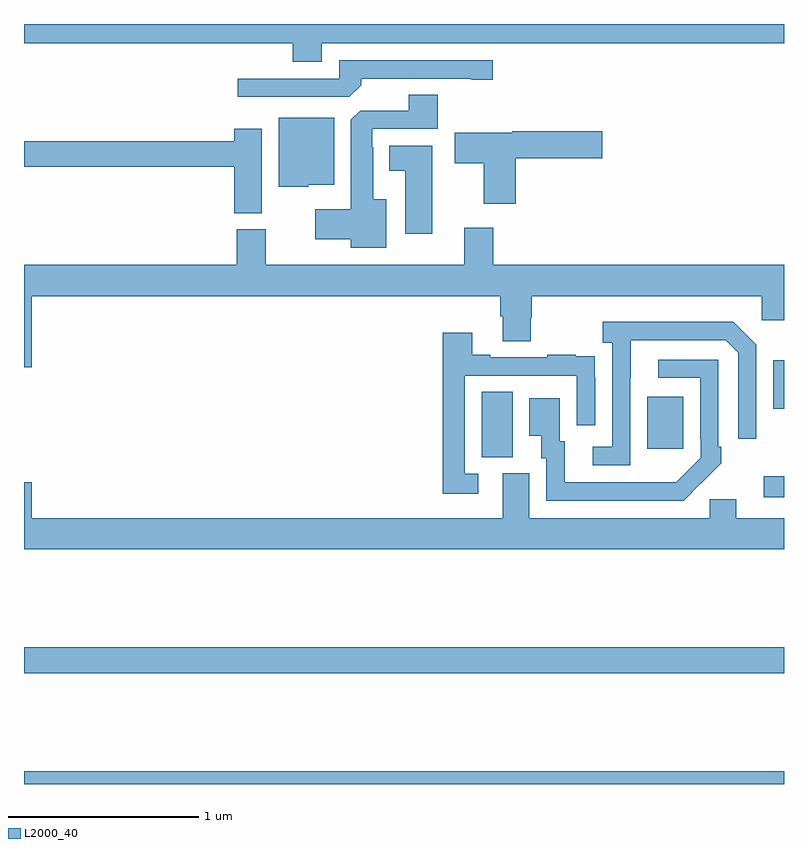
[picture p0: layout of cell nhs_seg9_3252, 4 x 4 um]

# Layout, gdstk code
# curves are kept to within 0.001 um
import gdstk
lib = gdstk.Library(unit=1e-6, precision=1e-09)
def R(c, l, rs):  # rectangles x0, y0, x1, y1
    for r in rs: c.add(gdstk.rectangle(r[:2], r[2:], *l))
def P(c, l, *ps):  # polygons
    for p in ps: c.add(gdstk.Polygon(p, *l))
L2000_40 = (2000, 40)

nhs_seg9_3252 = lib.new_cell('nhs_seg9_3252')
R(nhs_seg9_3252, L2000_40, [(297,1212.5,301,1212.568), (297,1213.084,301,1213.22), (300.894,1214.01,301,1214.119), (299.408,1214.221,299.572,1214.564), (300.281,1214.265,300.469,1214.539), (300.944,1214.474,301,1214.731)])
P(nhs_seg9_3252, L2000_40, [(298.567,1216.4),(301,1216.4),(301,1216.5),(297,1216.5),(297,1216.4),(298.415,1216.4),(298.415,1216.301),(298.567,1216.301)],
  [(298.775,1216.178),(298.775,1216.212),(299.354,1216.212),(299.354,1216.207),(299.467,1216.207),(299.467,1216.308),(298.659,1216.308),(298.659,1216.212),(298.125,1216.212),(298.125,1216.116),(298.713,1216.116)],
  [(298.906,1215.577),(298.837,1215.577),(298.837,1215.851),(298.833,1215.851),(298.833,1215.948),(299.177,1215.948),(299.177,1216.127),(299.024,1216.127),(299.024,1216.044),(298.77,1216.044),(298.721,1215.995),(298.721,1215.526),(298.533,1215.526),(298.533,1215.368),(298.721,1215.368),(298.721,1215.323),(298.906,1215.323)],
  [(298.497,1215.653),(298.633,1215.653),(298.633,1216.006),(298.34,1216.006),(298.34,1215.644),(298.497,1215.644)],
  [(298.252,1215.949),(298.106,1215.949),(298.106,1215.884),(297,1215.884),(297,1215.748),(298.106,1215.748),(298.106,1215.505),(298.252,1215.505)],
  [(299.588,1215.794),(300.043,1215.794),(300.043,1215.936),(299.571,1215.936),(299.571,1215.928),(299.268,1215.928),(299.268,1215.766),(299.42,1215.766),(299.42,1215.555),(299.588,1215.555)],
  [(299.149,1215.859),(298.922,1215.859),(298.922,1215.728),(299.006,1215.728),(299.006,1215.396),(299.149,1215.396)],
  [(297.04,1215.068),(299.507,1215.068),(299.507,1214.962),(299.519,1214.962),(299.519,1214.83),(299.667,1214.83),(299.667,1214.955),(299.672,1214.955),(299.672,1215.068),(300.882,1215.068),(300.882,1214.942),(301,1214.942),(301,1215.232),(299.471,1215.232),(299.471,1215.427),(299.318,1215.427),(299.318,1215.232),(298.273,1215.232),(298.273,1215.42),(298.121,1215.42),(298.121,1215.232),(297,1215.232),(297,1214.694),(297.04,1214.694)],
  [(300.192,1214.635),(300.193,1214.835),(300.693,1214.835),(300.759,1214.769),(300.759,1214.316),(300.855,1214.316),(300.855,1214.811),(300.734,1214.932),(300.045,1214.932),(300.045,1214.822),(300.096,1214.822),(300.096,1214.274),(299.994,1214.274),(299.994,1214.178),(300.192,1214.178)],
  [(299.392,1214.133),(299.319,1214.133),(299.319,1214.649),(299.91,1214.649),(299.91,1214.388),(300.006,1214.388),(300.006,1214.642),(300.005,1214.642),(300.005,1214.751),(299.903,1214.751),(299.903,1214.758),(299.755,1214.758),(299.755,1214.745),(299.455,1214.745),(299.455,1214.758),(299.359,1214.758),(299.359,1214.875),(299.203,1214.875),(299.203,1214.028),(299.392,1214.028)],
  [(300.563,1214.083),(300.564,1214.082),(300.669,1214.187),(300.669,1214.275),(300.654,1214.275),(300.654,1214.733),(300.339,1214.733),(300.339,1214.637),(300.558,1214.637),(300.558,1214.317),(300.561,1214.317),(300.561,1214.217),(300.433,1214.089),(299.845,1214.088),(299.845,1214.304),(299.821,1214.304),(299.821,1214.53),(299.66,1214.53),(299.66,1214.333),(299.723,1214.333),(299.723,1214.214),(299.748,1214.214),(299.748,1213.992),(300.472,1213.992)],
  [(301,1213.9),(300.748,1213.9),(300.748,1213.998),(300.609,1213.998),(300.609,1213.9),(299.659,1213.9),(299.659,1214.136),(299.519,1214.136),(299.519,1213.9),(297.04,1213.9),(297.04,1214.089),(297,1214.089),(297,1213.736),(301,1213.736)])

lib.write_gds('nhs_seg9_3252.gds')
